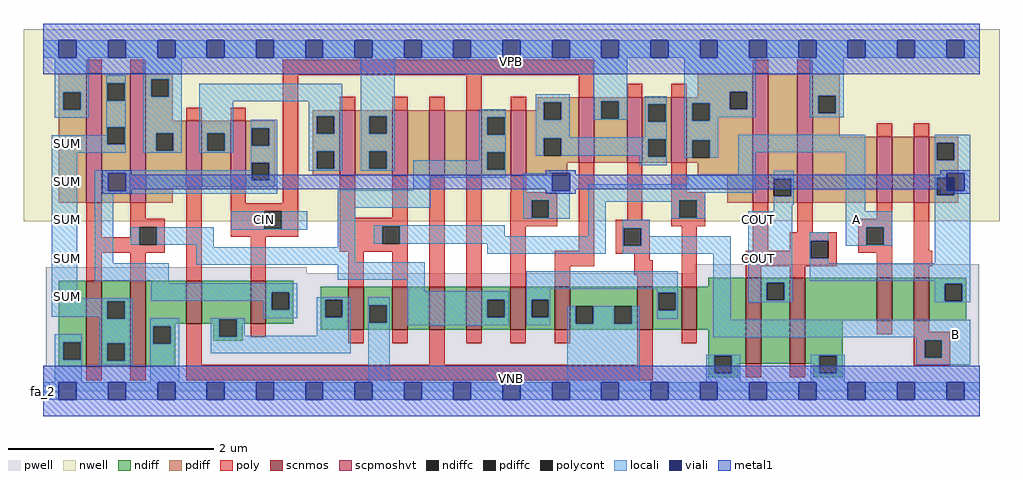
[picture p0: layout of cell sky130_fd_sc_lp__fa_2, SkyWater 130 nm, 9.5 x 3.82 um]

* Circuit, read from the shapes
.subckt sky130_fd_sc_lp__fa_2 A B CIN VGND VNB VPB VPWR COUT SUM
XM1 SUM n1 VGND VNB sky130_fd_pr__nfet_01v8 w=0.84 l=0.15 m=2
XM2 n2 B VGND VNB sky130_fd_pr__nfet_01v8 w=0.42 l=0.15
XM3 n3 CIN n2 VNB sky130_fd_pr__nfet_01v8 w=0.42 l=0.15
XM4 VGND A n2 VNB sky130_fd_pr__nfet_01v8 w=0.42 l=0.15
XM5 n4 A VGND VNB sky130_fd_pr__nfet_01v8 w=0.42 l=0.15
XM6 n5 B n4 VNB sky130_fd_pr__nfet_01v8 w=0.42 l=0.15
XM7 n1 CIN n5 VNB sky130_fd_pr__nfet_01v8 w=0.42 l=0.15
XM8 n6 n3 n1 VNB sky130_fd_pr__nfet_01v8 w=0.42 l=0.15
XM9 VGND CIN n6 VNB sky130_fd_pr__nfet_01v8 w=0.42 l=0.15
XM10 n6 B VGND VNB sky130_fd_pr__nfet_01v8 w=0.42 l=0.15
XM11 VGND A n6 VNB sky130_fd_pr__nfet_01v8 w=0.42 l=0.15
XM12 COUT n3 VGND VNB sky130_fd_pr__nfet_01v8 w=0.84 l=0.15 m=2
XM13 n7 A VGND VNB sky130_fd_pr__nfet_01v8 w=0.42 l=0.15
XM14 n3 B n7 VNB sky130_fd_pr__nfet_01v8 w=0.42 l=0.15
XM15 SUM n1 VPWR VPB sky130_fd_pr__pfet_01v8_hvt w=1.26 l=0.15 m=2
XM16 n8 B VPWR VPB sky130_fd_pr__pfet_01v8_hvt w=0.64 l=0.15
XM17 n3 CIN n8 VPB sky130_fd_pr__pfet_01v8_hvt w=0.64 l=0.15
XM18 VPWR A n8 VPB sky130_fd_pr__pfet_01v8_hvt w=0.64 l=0.15
XM19 n9 A VPWR VPB sky130_fd_pr__pfet_01v8_hvt w=0.64 l=0.15
XM20 n10 B n9 VPB sky130_fd_pr__pfet_01v8_hvt w=0.64 l=0.15
XM21 n1 CIN n10 VPB sky130_fd_pr__pfet_01v8_hvt w=0.64 l=0.15
XM22 n11 n3 n1 VPB sky130_fd_pr__pfet_01v8_hvt w=0.64 l=0.15
XM23 VPWR CIN n11 VPB sky130_fd_pr__pfet_01v8_hvt w=0.64 l=0.15
XM24 n11 B VPWR VPB sky130_fd_pr__pfet_01v8_hvt w=0.64 l=0.15
XM25 VPWR A n11 VPB sky130_fd_pr__pfet_01v8_hvt w=0.64 l=0.15
XM26 COUT n3 VPWR VPB sky130_fd_pr__pfet_01v8_hvt w=1.26 l=0.15 m=2
XM27 n12 A VPWR VPB sky130_fd_pr__pfet_01v8_hvt w=0.64 l=0.15
XM28 n3 B n12 VPB sky130_fd_pr__pfet_01v8_hvt w=0.64 l=0.15
.ends

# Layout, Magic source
magic
tech sky130A
magscale 1 2
<< nwell >>
rect -38 331 1862 704
<< pwell >>
rect 5 229 513 241
rect 1269 229 1823 247
rect 5 49 1823 229
rect 0 0 1824 49
<< scnmos >>
rect 84 47 114 215
rect 170 47 200 215
rect 279 131 309 215
rect 404 131 434 215
rect 594 119 624 203
rect 680 119 710 203
rect 752 119 782 203
rect 824 119 854 203
rect 910 119 940 203
rect 996 119 1026 203
rect 1157 119 1187 203
rect 1243 119 1273 203
rect 1368 53 1398 221
rect 1454 53 1484 221
rect 1623 137 1653 221
rect 1695 137 1725 221
<< scpmoshvt >>
rect 84 367 114 619
rect 170 367 200 619
rect 279 398 309 526
rect 365 398 395 526
rect 578 419 608 547
rect 680 419 710 547
rect 752 419 782 547
rect 824 419 854 547
rect 911 419 941 547
rect 1043 444 1073 572
rect 1137 444 1167 572
rect 1223 444 1253 572
rect 1382 367 1412 619
rect 1468 367 1498 619
rect 1623 367 1653 495
rect 1695 367 1725 495
<< ndiff >>
rect 31 95 84 215
rect 31 61 39 95
rect 73 61 84 95
rect 31 47 84 61
rect 114 175 170 215
rect 114 141 125 175
rect 159 141 170 175
rect 114 93 170 141
rect 114 59 125 93
rect 159 59 170 93
rect 114 47 170 59
rect 200 131 279 215
rect 309 140 404 215
rect 309 131 343 140
rect 200 126 257 131
rect 200 92 215 126
rect 249 92 257 126
rect 200 47 257 92
rect 331 106 343 131
rect 377 131 404 140
rect 434 192 487 215
rect 1295 203 1368 221
rect 434 158 445 192
rect 479 158 487 192
rect 434 131 487 158
rect 541 178 594 203
rect 541 144 549 178
rect 583 144 594 178
rect 377 106 389 131
rect 331 98 389 106
rect 541 119 594 144
rect 624 167 680 203
rect 624 133 635 167
rect 669 133 680 167
rect 624 119 680 133
rect 710 119 752 203
rect 782 119 824 203
rect 854 178 910 203
rect 854 144 865 178
rect 899 144 910 178
rect 854 119 910 144
rect 940 178 996 203
rect 940 144 951 178
rect 985 144 996 178
rect 940 119 996 144
rect 1026 165 1157 203
rect 1026 131 1037 165
rect 1071 131 1112 165
rect 1146 131 1157 165
rect 1026 119 1157 131
rect 1187 191 1243 203
rect 1187 157 1198 191
rect 1232 157 1243 191
rect 1187 119 1243 157
rect 1273 119 1368 203
rect 1295 69 1368 119
rect 1295 35 1307 69
rect 1341 53 1368 69
rect 1398 211 1454 221
rect 1398 177 1409 211
rect 1443 177 1454 211
rect 1398 53 1454 177
rect 1484 137 1623 221
rect 1653 137 1695 221
rect 1725 209 1797 221
rect 1725 175 1755 209
rect 1789 175 1797 209
rect 1725 137 1797 175
rect 1484 69 1557 137
rect 1484 53 1511 69
rect 1341 35 1353 53
rect 1295 27 1353 35
rect 1499 35 1511 53
rect 1545 35 1557 69
rect 1499 27 1557 35
<< pdiff >>
rect 31 582 84 619
rect 31 548 39 582
rect 73 548 84 582
rect 31 367 84 548
rect 114 599 170 619
rect 114 565 125 599
rect 159 565 170 599
rect 114 514 170 565
rect 114 480 125 514
rect 159 480 170 514
rect 114 367 170 480
rect 200 607 253 619
rect 200 573 211 607
rect 245 573 253 607
rect 200 526 253 573
rect 200 502 279 526
rect 200 468 220 502
rect 254 468 279 502
rect 200 398 279 468
rect 309 502 365 526
rect 309 468 320 502
rect 354 468 365 502
rect 309 398 365 468
rect 395 512 452 526
rect 395 478 406 512
rect 440 478 452 512
rect 395 444 452 478
rect 395 410 406 444
rect 440 410 452 444
rect 395 398 452 410
rect 200 367 253 398
rect 1275 583 1382 619
rect 1275 572 1337 583
rect 963 562 1043 572
rect 963 547 975 562
rect 525 535 578 547
rect 525 501 533 535
rect 567 501 578 535
rect 525 467 578 501
rect 525 433 533 467
rect 567 433 578 467
rect 525 419 578 433
rect 608 535 680 547
rect 608 501 635 535
rect 669 501 680 535
rect 608 467 680 501
rect 608 433 635 467
rect 669 433 680 467
rect 608 419 680 433
rect 710 419 752 547
rect 782 419 824 547
rect 854 533 911 547
rect 854 499 865 533
rect 899 499 911 533
rect 854 465 911 499
rect 854 431 865 465
rect 899 431 911 465
rect 854 419 911 431
rect 941 528 975 547
rect 1009 528 1043 562
rect 941 492 1043 528
rect 941 458 975 492
rect 1009 458 1043 492
rect 941 444 1043 458
rect 1073 564 1137 572
rect 1073 530 1087 564
rect 1121 530 1137 564
rect 1073 444 1137 530
rect 1167 558 1223 572
rect 1167 524 1178 558
rect 1212 524 1223 558
rect 1167 490 1223 524
rect 1167 456 1178 490
rect 1212 456 1223 490
rect 1167 444 1223 456
rect 1253 560 1337 572
rect 1253 526 1264 560
rect 1298 549 1337 560
rect 1371 549 1382 583
rect 1298 526 1382 549
rect 1253 488 1382 526
rect 1253 454 1264 488
rect 1298 454 1382 488
rect 1253 444 1382 454
rect 941 419 1021 444
rect 1275 419 1382 444
rect 1332 367 1382 419
rect 1412 413 1468 619
rect 1412 379 1423 413
rect 1457 379 1468 413
rect 1412 367 1468 379
rect 1498 575 1551 619
rect 1498 541 1509 575
rect 1543 541 1551 575
rect 1498 495 1551 541
rect 1498 367 1623 495
rect 1653 367 1695 495
rect 1725 483 1782 495
rect 1725 449 1740 483
rect 1774 449 1782 483
rect 1725 415 1782 449
rect 1725 381 1740 415
rect 1774 381 1782 415
rect 1725 367 1782 381
<< ndiffc >>
rect 39 61 73 95
rect 125 141 159 175
rect 125 59 159 93
rect 215 92 249 126
rect 343 106 377 140
rect 445 158 479 192
rect 549 144 583 178
rect 635 133 669 167
rect 865 144 899 178
rect 951 144 985 178
rect 1037 131 1071 165
rect 1112 131 1146 165
rect 1198 157 1232 191
rect 1307 35 1341 69
rect 1409 177 1443 211
rect 1755 175 1789 209
rect 1511 35 1545 69
<< pdiffc >>
rect 39 548 73 582
rect 125 565 159 599
rect 125 480 159 514
rect 211 573 245 607
rect 220 468 254 502
rect 320 468 354 502
rect 406 478 440 512
rect 406 410 440 444
rect 533 501 567 535
rect 533 433 567 467
rect 635 501 669 535
rect 635 433 669 467
rect 865 499 899 533
rect 865 431 899 465
rect 975 528 1009 562
rect 975 458 1009 492
rect 1087 530 1121 564
rect 1178 524 1212 558
rect 1178 456 1212 490
rect 1264 526 1298 560
rect 1337 549 1371 583
rect 1264 454 1298 488
rect 1423 379 1457 413
rect 1509 541 1543 575
rect 1740 449 1774 483
rect 1740 381 1774 415
<< poly >>
rect 84 619 114 645
rect 170 619 200 645
rect 467 615 1073 645
rect 1382 619 1412 645
rect 1468 619 1498 645
rect 279 526 309 552
rect 365 526 395 552
rect 84 299 114 367
rect 170 335 200 367
rect 170 319 237 335
rect 170 299 187 319
rect 84 285 187 299
rect 221 285 237 319
rect 84 269 237 285
rect 84 215 114 269
rect 170 215 200 269
rect 279 215 309 398
rect 365 366 395 398
rect 467 366 497 615
rect 578 547 608 573
rect 680 547 710 573
rect 752 547 782 573
rect 824 547 854 615
rect 911 547 941 573
rect 1043 572 1073 615
rect 1137 572 1167 598
rect 1223 572 1253 598
rect 365 350 497 366
rect 365 316 431 350
rect 465 316 497 350
rect 365 300 497 316
rect 578 337 608 419
rect 680 337 710 419
rect 578 321 710 337
rect 404 215 434 300
rect 578 287 660 321
rect 694 287 710 321
rect 578 271 710 287
rect 279 51 309 131
rect 594 203 624 271
rect 680 203 710 271
rect 752 203 782 419
rect 824 203 854 419
rect 911 387 941 419
rect 910 371 1001 387
rect 910 337 951 371
rect 985 337 1001 371
rect 910 321 1001 337
rect 910 203 940 321
rect 1043 273 1073 444
rect 1137 333 1167 444
rect 1223 387 1253 444
rect 1223 371 1289 387
rect 1223 337 1239 371
rect 1273 337 1289 371
rect 1623 495 1653 521
rect 1695 495 1725 521
rect 996 243 1073 273
rect 1115 317 1181 333
rect 1223 321 1289 337
rect 1115 283 1131 317
rect 1165 283 1181 317
rect 1115 267 1181 283
rect 1151 255 1181 267
rect 996 203 1026 243
rect 1151 225 1187 255
rect 1157 203 1187 225
rect 1243 203 1273 321
rect 1382 273 1412 367
rect 1468 309 1498 367
rect 1623 335 1653 367
rect 1587 319 1653 335
rect 1454 293 1545 309
rect 1454 273 1495 293
rect 1368 259 1495 273
rect 1529 259 1545 293
rect 1587 285 1603 319
rect 1637 285 1653 319
rect 1587 269 1653 285
rect 1368 243 1545 259
rect 1368 221 1398 243
rect 1454 221 1484 243
rect 1623 221 1653 269
rect 1695 273 1725 367
rect 1695 243 1731 273
rect 1695 221 1725 243
rect 404 105 434 131
rect 594 93 624 119
rect 680 93 710 119
rect 752 51 782 119
rect 824 93 854 119
rect 910 93 940 119
rect 996 93 1026 119
rect 1157 51 1187 119
rect 1243 93 1273 119
rect 84 21 114 47
rect 170 21 200 47
rect 279 21 1187 51
rect 1623 111 1653 137
rect 1695 115 1725 137
rect 1368 27 1398 53
rect 1454 27 1484 53
rect 1695 99 1766 115
rect 1695 65 1716 99
rect 1750 65 1766 99
rect 1695 49 1766 65
<< polycont >>
rect 187 285 221 319
rect 431 316 465 350
rect 660 287 694 321
rect 951 337 985 371
rect 1239 337 1273 371
rect 1131 283 1165 317
rect 1495 259 1529 293
rect 1603 285 1637 319
rect 1716 65 1750 99
<< locali >>
rect 0 649 31 683
rect 65 649 127 683
rect 161 649 223 683
rect 257 649 319 683
rect 353 649 415 683
rect 449 649 511 683
rect 545 649 607 683
rect 641 649 703 683
rect 737 649 799 683
rect 833 649 895 683
rect 929 649 991 683
rect 1025 649 1087 683
rect 1121 649 1183 683
rect 1217 649 1279 683
rect 1313 649 1375 683
rect 1409 649 1471 683
rect 1505 649 1567 683
rect 1601 649 1663 683
rect 1697 649 1759 683
rect 1793 649 1824 683
rect 23 582 89 649
rect 23 548 39 582
rect 73 548 89 582
rect 23 532 89 548
rect 123 599 161 615
rect 123 565 125 599
rect 159 565 161 599
rect 123 514 161 565
rect 123 498 125 514
rect 17 480 125 498
rect 159 480 161 514
rect 17 464 161 480
rect 195 607 270 649
rect 195 573 211 607
rect 245 573 270 607
rect 195 502 270 573
rect 195 468 220 502
rect 254 468 270 502
rect 195 464 270 468
rect 304 564 583 598
rect 304 502 370 564
rect 517 535 583 564
rect 304 468 320 502
rect 354 468 370 502
rect 304 464 370 468
rect 404 512 456 528
rect 404 478 406 512
rect 440 478 456 512
rect 17 181 67 464
rect 404 444 456 478
rect 404 430 406 444
rect 101 424 406 430
rect 101 390 127 424
rect 161 410 406 424
rect 440 410 456 444
rect 517 501 533 535
rect 567 501 583 535
rect 517 467 583 501
rect 517 433 533 467
rect 567 433 583 467
rect 517 429 583 433
rect 619 535 685 649
rect 959 562 1025 578
rect 619 501 635 535
rect 669 501 685 535
rect 619 467 685 501
rect 619 433 635 467
rect 669 433 685 467
rect 849 533 901 549
rect 849 499 865 533
rect 899 499 901 533
rect 849 465 901 499
rect 849 449 865 465
rect 619 429 685 433
rect 721 431 865 449
rect 899 431 901 465
rect 959 528 975 562
rect 1009 528 1025 562
rect 1071 564 1137 649
rect 1248 583 1387 649
rect 1071 530 1087 564
rect 1121 530 1137 564
rect 1071 528 1137 530
rect 1171 558 1214 574
rect 959 494 1025 528
rect 1171 524 1178 558
rect 1212 524 1214 558
rect 1171 494 1214 524
rect 959 492 1214 494
rect 959 458 975 492
rect 1009 490 1214 492
rect 1009 458 1178 490
rect 1162 456 1178 458
rect 1212 456 1214 490
rect 1162 440 1214 456
rect 1248 560 1337 583
rect 1248 526 1264 560
rect 1298 549 1337 560
rect 1371 549 1387 583
rect 1298 533 1387 549
rect 1493 575 1559 649
rect 1493 541 1509 575
rect 1543 541 1559 575
rect 1493 533 1559 541
rect 1298 526 1314 533
rect 1248 488 1314 526
rect 1248 454 1264 488
rect 1298 454 1314 488
rect 1353 465 1601 499
rect 161 390 456 410
rect 721 415 901 431
rect 721 391 755 415
rect 101 384 456 390
rect 101 249 137 384
rect 574 357 755 391
rect 935 390 991 424
rect 1353 420 1387 465
rect 1255 403 1387 420
rect 935 371 1025 390
rect 171 285 187 319
rect 221 285 332 319
rect 366 316 431 350
rect 465 316 514 350
rect 366 314 514 316
rect 298 280 332 285
rect 574 280 608 357
rect 935 337 951 371
rect 985 337 1025 371
rect 935 335 1025 337
rect 1061 386 1387 403
rect 1423 413 1461 429
rect 1061 371 1289 386
rect 1061 369 1239 371
rect 644 321 899 323
rect 644 287 660 321
rect 694 301 899 321
rect 1061 301 1095 369
rect 1223 337 1239 369
rect 1273 337 1289 371
rect 1457 379 1461 413
rect 1423 363 1461 379
rect 1423 350 1459 363
rect 1223 335 1289 337
rect 694 287 1095 301
rect 298 251 608 280
rect 865 267 1095 287
rect 1129 317 1181 333
rect 1129 283 1131 317
rect 1165 301 1181 317
rect 1165 283 1339 301
rect 1129 267 1339 283
rect 101 215 245 249
rect 298 246 743 251
rect 574 217 743 246
rect 211 210 245 215
rect 211 192 495 210
rect 17 175 175 181
rect 211 176 445 192
rect 17 145 125 175
rect 109 141 125 145
rect 159 141 175 175
rect 429 158 445 176
rect 479 158 495 192
rect 709 194 743 217
rect 941 199 1236 233
rect 429 142 495 158
rect 533 178 599 183
rect 533 144 549 178
rect 583 144 599 178
rect 23 95 75 111
rect 23 61 39 95
rect 73 61 75 95
rect 23 17 75 61
rect 109 93 175 141
rect 109 59 125 93
rect 159 59 175 93
rect 109 51 175 59
rect 209 126 265 142
rect 209 92 215 126
rect 249 92 265 126
rect 209 17 265 92
rect 327 140 393 142
rect 327 106 343 140
rect 377 108 393 140
rect 533 108 599 144
rect 377 106 599 108
rect 327 74 599 106
rect 633 167 675 183
rect 633 133 635 167
rect 669 133 675 167
rect 633 17 675 133
rect 709 178 907 194
rect 709 144 865 178
rect 899 144 907 178
rect 709 128 907 144
rect 941 178 987 199
rect 941 144 951 178
rect 985 144 987 178
rect 1196 191 1236 199
rect 941 128 987 144
rect 1021 131 1037 165
rect 1071 131 1112 165
rect 1146 131 1162 165
rect 1196 157 1198 191
rect 1232 157 1236 191
rect 1196 141 1236 157
rect 1021 17 1162 131
rect 1305 139 1339 267
rect 1373 211 1459 350
rect 1563 350 1601 465
rect 1736 483 1805 499
rect 1736 449 1740 483
rect 1774 449 1805 483
rect 1736 424 1805 449
rect 1736 415 1759 424
rect 1736 381 1740 415
rect 1793 390 1805 424
rect 1774 381 1805 390
rect 1563 319 1653 350
rect 1493 293 1529 309
rect 1493 259 1495 293
rect 1563 285 1603 319
rect 1637 285 1653 319
rect 1563 283 1653 285
rect 1493 249 1529 259
rect 1736 249 1805 381
rect 1493 215 1805 249
rect 1373 177 1409 211
rect 1443 177 1459 211
rect 1373 173 1459 177
rect 1736 209 1805 215
rect 1736 175 1755 209
rect 1789 175 1805 209
rect 1736 173 1805 175
rect 1305 105 1805 139
rect 1700 99 1805 105
rect 1291 69 1357 71
rect 1291 35 1307 69
rect 1341 35 1357 69
rect 1291 17 1357 35
rect 1495 69 1561 71
rect 1495 35 1511 69
rect 1545 35 1561 69
rect 1700 65 1716 99
rect 1750 65 1805 99
rect 1700 51 1805 65
rect 1495 17 1561 35
rect 0 -17 31 17
rect 65 -17 127 17
rect 161 -17 223 17
rect 257 -17 319 17
rect 353 -17 415 17
rect 449 -17 511 17
rect 545 -17 607 17
rect 641 -17 703 17
rect 737 -17 799 17
rect 833 -17 895 17
rect 929 -17 991 17
rect 1025 -17 1087 17
rect 1121 -17 1183 17
rect 1217 -17 1279 17
rect 1313 -17 1375 17
rect 1409 -17 1471 17
rect 1505 -17 1567 17
rect 1601 -17 1663 17
rect 1697 -17 1759 17
rect 1793 -17 1824 17
<< viali >>
rect 31 649 65 683
rect 127 649 161 683
rect 223 649 257 683
rect 319 649 353 683
rect 415 649 449 683
rect 511 649 545 683
rect 607 649 641 683
rect 703 649 737 683
rect 799 649 833 683
rect 895 649 929 683
rect 991 649 1025 683
rect 1087 649 1121 683
rect 1183 649 1217 683
rect 1279 649 1313 683
rect 1375 649 1409 683
rect 1471 649 1505 683
rect 1567 649 1601 683
rect 1663 649 1697 683
rect 1759 649 1793 683
rect 127 390 161 424
rect 991 390 1025 424
rect 1759 415 1793 424
rect 1759 390 1774 415
rect 1774 390 1793 415
rect 31 -17 65 17
rect 127 -17 161 17
rect 223 -17 257 17
rect 319 -17 353 17
rect 415 -17 449 17
rect 511 -17 545 17
rect 607 -17 641 17
rect 703 -17 737 17
rect 799 -17 833 17
rect 895 -17 929 17
rect 991 -17 1025 17
rect 1087 -17 1121 17
rect 1183 -17 1217 17
rect 1279 -17 1313 17
rect 1375 -17 1409 17
rect 1471 -17 1505 17
rect 1567 -17 1601 17
rect 1663 -17 1697 17
rect 1759 -17 1793 17
<< metal1 >>
rect 0 683 1824 715
rect 0 649 31 683
rect 65 649 127 683
rect 161 649 223 683
rect 257 649 319 683
rect 353 649 415 683
rect 449 649 511 683
rect 545 649 607 683
rect 641 649 703 683
rect 737 649 799 683
rect 833 649 895 683
rect 929 649 991 683
rect 1025 649 1087 683
rect 1121 649 1183 683
rect 1217 649 1279 683
rect 1313 649 1375 683
rect 1409 649 1471 683
rect 1505 649 1567 683
rect 1601 649 1663 683
rect 1697 649 1759 683
rect 1793 649 1824 683
rect 0 617 1824 649
rect 115 424 173 430
rect 115 390 127 424
rect 161 421 173 424
rect 979 424 1037 430
rect 979 421 991 424
rect 161 393 991 421
rect 161 390 173 393
rect 115 384 173 390
rect 979 390 991 393
rect 1025 421 1037 424
rect 1747 424 1805 430
rect 1747 421 1759 424
rect 1025 393 1759 421
rect 1025 390 1037 393
rect 979 384 1037 390
rect 1747 390 1759 393
rect 1793 390 1805 424
rect 1747 384 1805 390
rect 0 17 1824 49
rect 0 -17 31 17
rect 65 -17 127 17
rect 161 -17 223 17
rect 257 -17 319 17
rect 353 -17 415 17
rect 449 -17 511 17
rect 545 -17 607 17
rect 641 -17 703 17
rect 737 -17 799 17
rect 833 -17 895 17
rect 929 -17 991 17
rect 1025 -17 1087 17
rect 1121 -17 1183 17
rect 1217 -17 1279 17
rect 1313 -17 1375 17
rect 1409 -17 1471 17
rect 1505 -17 1567 17
rect 1601 -17 1663 17
rect 1697 -17 1759 17
rect 1793 -17 1824 17
rect 0 -49 1824 -17
<< labels >>
flabel pwell s 0 0 1824 49 0 FreeSans 200 0 0 0 VNB
port 5 nsew ground bidirectional
flabel nwell s 0 617 1824 666 0 FreeSans 200 0 0 0 VPB
port 6 nsew power bidirectional
rlabel comment s 0 0 0 0 4 fa_2
flabel metal1 s 0 617 1824 666 0 FreeSans 340 0 0 0 VPWR
port 7 nsew power bidirectional
flabel metal1 s 0 0 1824 49 0 FreeSans 340 0 0 0 VGND
port 4 nsew ground bidirectional
flabel locali s 1759 94 1793 128 0 FreeSans 340 0 0 0 B
port 2 nsew signal input
flabel locali s 1375 242 1409 276 0 FreeSans 340 0 0 0 COUT
port 8 nsew signal output
flabel locali s 1375 316 1409 350 0 FreeSans 340 0 0 0 COUT
port 8 nsew signal output
flabel locali s 415 316 449 350 0 FreeSans 340 0 0 0 CIN
port 3 nsew signal input
flabel locali s 31 168 65 202 0 FreeSans 340 0 0 0 SUM
port 9 nsew signal output
flabel locali s 31 242 65 276 0 FreeSans 340 0 0 0 SUM
port 9 nsew signal output
flabel locali s 31 316 65 350 0 FreeSans 340 0 0 0 SUM
port 9 nsew signal output
flabel locali s 31 390 65 424 0 FreeSans 340 0 0 0 SUM
port 9 nsew signal output
flabel locali s 31 464 65 498 0 FreeSans 340 0 0 0 SUM
port 9 nsew signal output
flabel locali s 1567 316 1601 350 0 FreeSans 340 0 0 0 A
port 1 nsew signal input
<< properties >>
string LEFsite unit
string LEFclass CORE
string FIXED_BBOX 0 0 1824 666
string GDS_FILE $PDKPATH/libs.ref/sky130_fd_sc_lp/gds/sky130_fd_sc_lp.gds
string LEFsymmetry X Y R90
string GDS_END 2433104
string GDS_START 2420058
<< end >>
